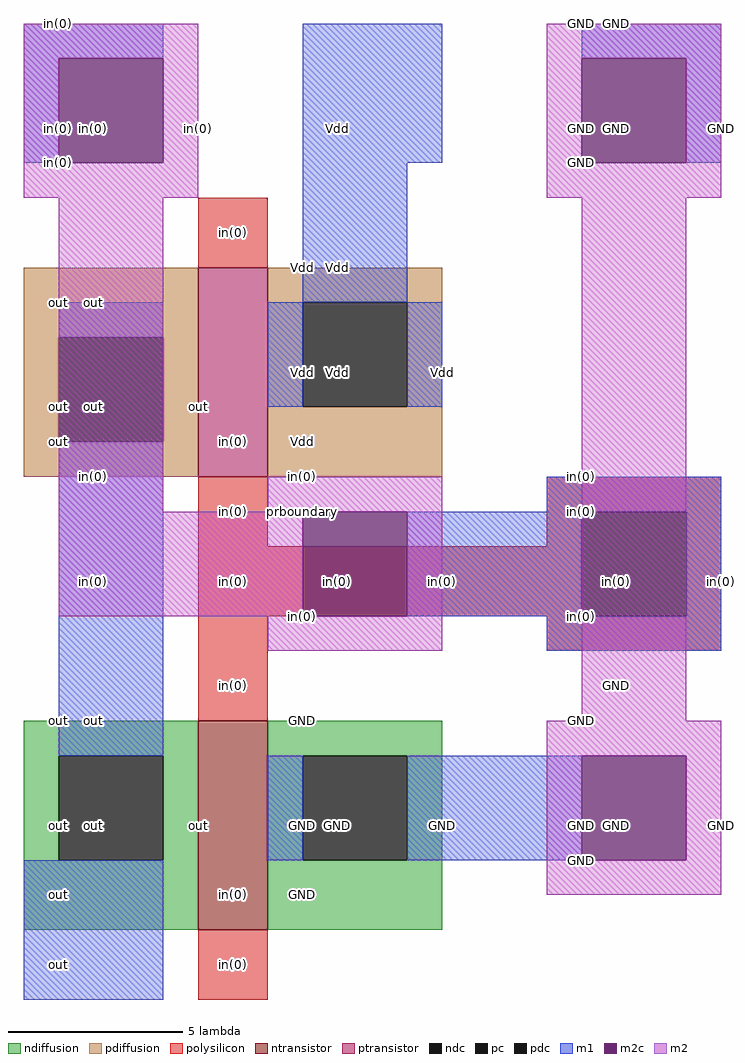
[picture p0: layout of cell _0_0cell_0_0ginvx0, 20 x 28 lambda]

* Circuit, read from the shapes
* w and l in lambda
.subckt _0_0cell_0_0ginvx0 in(0) out
M1 GND in(0) out VSUBS nfet w=6 l=2
M2 Vdd in(0) out NWELL pfet w=6 l=2
.ends

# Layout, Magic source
magic
tech sky130l
<< ndiffusion >>
rect 8 11 13 12
rect 8 8 9 11
rect 12 8 13 11
rect 8 6 13 8
rect 15 11 20 12
rect 15 8 16 11
rect 19 8 20 11
rect 15 6 20 8
<< ndc >>
rect 9 8 12 11
rect 16 8 19 11
<< ntransistor >>
rect 13 6 15 12
<< pdiffusion >>
rect 8 23 13 25
rect 8 20 9 23
rect 12 20 13 23
rect 8 19 13 20
rect 15 24 20 25
rect 15 21 16 24
rect 19 21 20 24
rect 15 19 20 21
<< pdc >>
rect 9 20 12 23
rect 16 21 19 24
<< ptransistor >>
rect 13 19 15 25
<< polysilicon >>
rect 13 25 15 27
rect 13 17 15 19
rect 23 18 28 19
rect 23 17 24 18
rect 13 15 24 17
rect 27 15 28 18
rect 13 12 15 15
rect 23 14 28 15
rect 13 4 15 6
<< pc >>
rect 24 15 27 18
<< m1 >>
rect 8 31 12 32
rect 8 28 9 31
rect 16 28 20 32
rect 24 31 28 32
rect 27 28 28 31
rect 16 24 19 28
rect 9 23 12 24
rect 15 21 16 24
rect 19 21 20 24
rect 9 11 12 20
rect 23 18 28 19
rect 19 15 24 18
rect 27 15 28 18
rect 23 14 28 15
rect 15 8 16 11
rect 19 8 24 11
rect 8 4 12 8
<< m2c >>
rect 9 28 12 31
rect 24 28 27 31
rect 16 15 19 18
rect 24 8 27 11
<< m2 >>
rect 8 31 13 32
rect 8 28 9 31
rect 12 28 13 31
rect 8 27 13 28
rect 23 31 28 32
rect 23 28 24 31
rect 27 28 28 31
rect 23 27 28 28
rect 9 18 12 27
rect 15 18 20 19
rect 9 15 16 18
rect 19 15 20 18
rect 15 14 20 15
rect 24 12 27 27
rect 23 11 28 12
rect 23 8 24 11
rect 27 8 28 11
rect 23 7 28 8
<< labels >>
rlabel space 0 0 32 36 6 prboundary
rlabel polysilicon 24 18 24 18 3 in(0)
rlabel ndiffusion 16 7 16 7 3 GND
rlabel ndiffusion 16 12 16 12 3 GND
rlabel ndiffusion 13 9 13 9 3 out
rlabel pdiffusion 16 20 16 20 3 Vdd
rlabel pdiffusion 16 25 16 25 3 Vdd
rlabel pdiffusion 13 21 13 21 3 out
rlabel polysilicon 14 5 14 5 3 in(0)
rlabel ntransistor 14 7 14 7 3 in(0)
rlabel polysilicon 14 13 14 13 3 in(0)
rlabel polysilicon 14 16 14 16 3 in(0)
rlabel polysilicon 14 18 14 18 3 in(0)
rlabel ptransistor 14 20 14 20 3 in(0)
rlabel polysilicon 14 26 14 26 3 in(0)
rlabel ndiffusion 9 7 9 7 3 out
rlabel ndiffusion 9 9 9 9 3 out
rlabel ndiffusion 9 12 9 12 3 out
rlabel pdiffusion 9 20 9 20 3 out
rlabel pdiffusion 9 21 9 21 3 out
rlabel pdiffusion 9 24 9 24 3 out
rlabel m1 28 16 28 16 3 in(0)
port 1 e
rlabel m1 24 15 24 15 3 in(0)
port 1 e
rlabel pc 25 16 25 16 3 in(0)
port 1 e
rlabel m1 24 19 24 19 3 in(0)
port 1 e
rlabel m1 25 32 25 32 3 GND
rlabel m1 20 9 20 9 3 GND
rlabel m1 20 22 20 22 3 Vdd
rlabel ndc 17 9 17 9 3 GND
rlabel pdc 17 22 17 22 3 Vdd
rlabel m1 17 25 17 25 3 Vdd
rlabel m1 17 29 17 29 3 Vdd
rlabel m1 16 9 16 9 3 GND
rlabel m1 16 22 16 22 3 Vdd
rlabel ndc 10 9 10 9 3 out
port 2 e
rlabel m1 10 12 10 12 3 out
port 2 e
rlabel pdc 10 21 10 21 3 out
port 2 e
rlabel m1 10 24 10 24 3 out
port 2 e
rlabel m1 9 5 9 5 3 out
port 2 e
rlabel m2 28 9 28 9 3 GND
rlabel m2 28 29 28 29 3 GND
rlabel m2c 25 9 25 9 3 GND
rlabel m2 25 13 25 13 3 GND
rlabel m2 24 28 24 28 3 GND
rlabel m2c 25 29 25 29 3 GND
rlabel m2 24 8 24 8 3 GND
rlabel m2 24 9 24 9 3 GND
rlabel m2 24 12 24 12 3 GND
rlabel m2 24 29 24 29 3 GND
rlabel m2 20 16 20 16 3 in(0)
port 1 e
rlabel m2 16 19 16 19 3 in(0)
port 1 e
rlabel m2 16 15 16 15 3 in(0)
port 1 e
rlabel m2c 17 16 17 16 3 in(0)
port 1 e
rlabel m2 13 29 13 29 3 in(0)
port 1 e
rlabel m2 24 32 24 32 3 GND
rlabel m2 10 16 10 16 3 in(0)
port 1 e
rlabel m2 10 19 10 19 3 in(0)
port 1 e
rlabel m2c 10 29 10 29 3 in(0)
port 1 e
rlabel m2 9 28 9 28 3 in(0)
port 1 e
rlabel m2 9 29 9 29 3 in(0)
port 1 e
rlabel m2 9 32 9 32 3 in(0)
port 1 e
<< end >>
